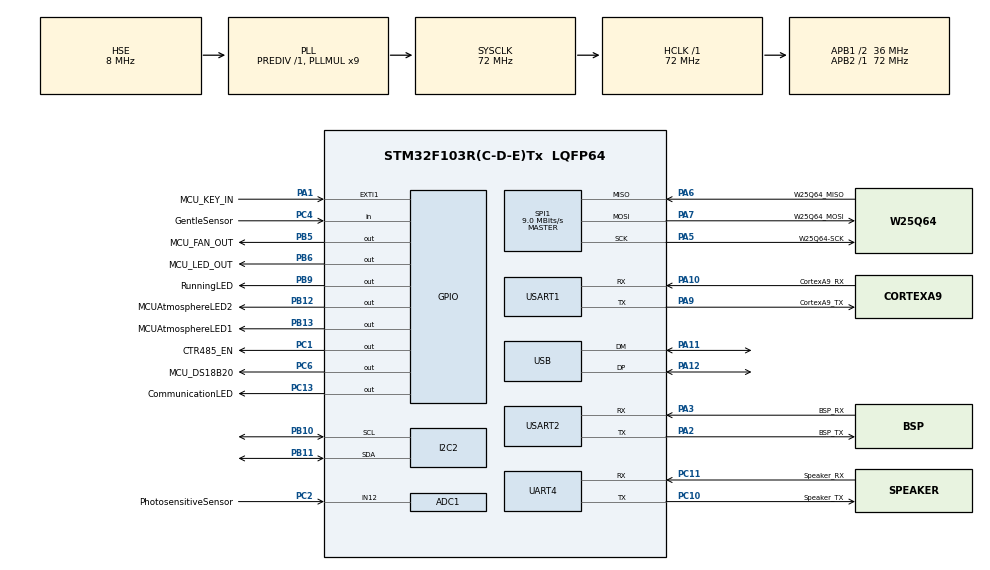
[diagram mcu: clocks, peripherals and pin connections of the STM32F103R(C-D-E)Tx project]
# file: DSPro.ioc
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ADC1.Channel-0\#ChannelRegularConversion=ADC_CHANNEL_12
ADC1.Channel-2\#ChannelRegularConversion=ADC_CHANNEL_TEMPSENSOR
ADC1.ContinuousConvMode=DISABLE
ADC1.DataAlign=ADC_DATAALIGN_RIGHT
ADC1.DiscontinuousConvMode=DISABLE
ADC1.EnableAnalogWatchDog=false
ADC1.EnableRegularConversion=ENABLE
ADC1.ExternalTrigConv=ADC_SOFTWARE_START
ADC1.InjNumberOfConversion=0
ADC1.NbrOfConversion=2
ADC1.NbrOfConversionFlag=1
ADC1.Rank-0\#ChannelRegularConversion=1
ADC1.Rank-2\#ChannelRegularConversion=2
ADC1.SamplingTime-0\#ChannelRegularConversion=ADC_SAMPLETIME_239CYCLES_5
ADC1.SamplingTime-2\#ChannelRegularConversion=ADC_SAMPLETIME_239CYCLES_5
ADC1.ScanConvMode=ADC_SCAN_ENABLE
ADC1.master=1
Dma.ADC1.2.Direction=DMA_PERIPH_TO_MEMORY
Dma.ADC1.2.Instance=DMA1_Channel1
Dma.ADC1.2.MemDataAlignment=DMA_MDATAALIGN_WORD
Dma.ADC1.2.MemInc=DMA_MINC_ENABLE
Dma.ADC1.2.Mode=DMA_CIRCULAR
Dma.ADC1.2.PeriphDataAlignment=DMA_PDATAALIGN_WORD
Dma.ADC1.2.PeriphInc=DMA_PINC_DISABLE
Dma.ADC1.2.Priority=DMA_PRIORITY_LOW
Dma.Request0=USART1_RX
Dma.Request1=USART1_TX
Dma.Request2=ADC1
Dma.Request3=UART4_TX
Dma.Request4=USART2_RX
Dma.Request5=USART2_TX
Dma.UART4_TX.3.Direction=DMA_MEMORY_TO_PERIPH
Dma.UART4_TX.3.Instance=DMA2_Channel5
Dma.UART4_TX.3.MemDataAlignment=DMA_MDATAALIGN_BYTE
Dma.UART4_TX.3.MemInc=DMA_MINC_ENABLE
Dma.UART4_TX.3.Mode=DMA_NORMAL
Dma.UART4_TX.3.PeriphDataAlignment=DMA_PDATAALIGN_BYTE
Dma.UART4_TX.3.PeriphInc=DMA_PINC_DISABLE
Dma.UART4_TX.3.Priority=DMA_PRIORITY_LOW
Dma.USART1_RX.0.Direction=DMA_PERIPH_TO_MEMORY
Dma.USART1_RX.0.Instance=DMA1_Channel5
Dma.USART1_RX.0.MemDataAlignment=DMA_MDATAALIGN_BYTE
Dma.USART1_RX.0.MemInc=DMA_MINC_ENABLE
Dma.USART1_RX.0.Mode=DMA_NORMAL
Dma.USART1_RX.0.PeriphDataAlignment=DMA_PDATAALIGN_BYTE
Dma.USART1_RX.0.PeriphInc=DMA_PINC_DISABLE
Dma.USART1_RX.0.Priority=DMA_PRIORITY_LOW
Dma.USART1_TX.1.Direction=DMA_MEMORY_TO_PERIPH
Dma.USART1_TX.1.Instance=DMA1_Channel4
Dma.USART1_TX.1.MemDataAlignment=DMA_MDATAALIGN_BYTE
Dma.USART1_TX.1.MemInc=DMA_MINC_ENABLE
Dma.USART1_TX.1.Mode=DMA_NORMAL
Dma.USART1_TX.1.PeriphDataAlignment=DMA_PDATAALIGN_BYTE
Dma.USART1_TX.1.PeriphInc=DMA_PINC_DISABLE
Dma.USART1_TX.1.Priority=DMA_PRIORITY_LOW
Dma.USART2_RX.4.Direction=DMA_PERIPH_TO_MEMORY
Dma.USART2_RX.4.Instance=DMA1_Channel6
Dma.USART2_RX.4.MemDataAlignment=DMA_MDATAALIGN_BYTE
Dma.USART2_RX.4.MemInc=DMA_MINC_ENABLE
Dma.USART2_RX.4.Mode=DMA_NORMAL
Dma.USART2_RX.4.PeriphDataAlignment=DMA_PDATAALIGN_BYTE
Dma.USART2_RX.4.PeriphInc=DMA_PINC_DISABLE
Dma.USART2_RX.4.Priority=DMA_PRIORITY_LOW
Dma.USART2_TX.5.Direction=DMA_MEMORY_TO_PERIPH
Dma.USART2_TX.5.Instance=DMA1_Channel7
Dma.USART2_TX.5.MemDataAlignment=DMA_MDATAALIGN_BYTE
Dma.USART2_TX.5.MemInc=DMA_MINC_ENABLE
Dma.USART2_TX.5.Mode=DMA_NORMAL
Dma.USART2_TX.5.PeriphDataAlignment=DMA_PDATAALIGN_BYTE
Dma.USART2_TX.5.PeriphInc=DMA_PINC_DISABLE
Dma.USART2_TX.5.Priority=DMA_PRIORITY_LOW
Mcu.Family=STM32F1
Mcu.Name=STM32F103R(C-D-E)Tx
Mcu.Package=LQFP64
NVIC.ADC1_2_IRQn=true\:0\:0\:false\:false\:true\:true
NVIC.DMA1_Channel1_IRQn=true\:0\:0\:false\:true\:true\:11\:false
NVIC.DMA1_Channel4_IRQn=true\:0\:0\:false\:true\:true\:7\:false
NVIC.DMA1_Channel5_IRQn=true\:0\:0\:false\:true\:true\:8\:false
NVIC.DMA1_Channel6_IRQn=true\:0\:0\:false\:true\:true\:9\:false
NVIC.DMA1_Channel7_IRQn=true\:0\:0\:false\:true\:true\:10\:false
NVIC.DMA2_Channel4_5_IRQn=true\:0\:0\:false\:true\:true\:15\:false
NVIC.EXTI1_IRQn=true\:0\:0\:false\:true\:true\:2\:true
NVIC.I2C2_ER_IRQn=true\:0\:0\:false\:true\:true\:13\:true
NVIC.I2C2_EV_IRQn=true\:0\:0\:false\:true\:true\:12\:true
NVIC.PriorityGroup=NVIC_PRIORITYGROUP_4
NVIC.SPI1_IRQn=true\:0\:0\:false\:false\:true\:true
NVIC.TIM4_IRQn=true\:0\:0\:false\:true\:true\:5\:true
NVIC.TIM5_IRQn=true\:0\:0\:false\:true\:true\:6\:true
NVIC.UART4_IRQn=true\:0\:0\:false\:true\:true\:14\:true
NVIC.USART1_IRQn=true\:0\:0\:false\:true\:true\:3\:true
NVIC.USART2_IRQn=true\:0\:0\:false\:true\:true\:4\:true
NVIC.USB_LP_CAN1_RX0_IRQn=true\:0\:0\:false\:true\:true\:1\:false
PA1.GPIO_Label=MCU_KEY_IN
PA1.Signal=GPXTI1
PA10.GPIO_Label=CortexA9_RX
PA10.Mode=Asynchronous
PA10.Signal=USART1_RX
PA11.Mode=Device
PA11.Signal=USB_DM
PA12.Mode=Device
PA12.Signal=USB_DP
PA13.Mode=Serial_Wire
PA13.Signal=SYS_JTMS-SWDIO
PA14.Mode=Serial_Wire
PA14.Signal=SYS_JTCK-SWCLK
PA2.GPIO_Label=BSP_TX
PA2.Mode=Asynchronous
PA2.Signal=USART2_TX
PA3.GPIO_Label=BSP_RX
PA3.Mode=Asynchronous
PA3.Signal=USART2_RX
PA5.GPIO_Label=W25Q64-SCK
PA5.Mode=Full_Duplex_Master
PA5.Signal=SPI1_SCK
PA6.GPIO_Label=W25Q64_MISO
PA6.Mode=Full_Duplex_Master
PA6.Signal=SPI1_MISO
PA7.GPIO_Label=W25Q64_MOSI
PA7.Mode=Full_Duplex_Master
PA7.Signal=SPI1_MOSI
PA9.GPIO_Label=CortexA9_TX
PA9.Mode=Asynchronous
PA9.Signal=USART1_TX
PB10.Mode=I2C
PB10.Signal=I2C2_SCL
PB11.Mode=I2C
PB11.Signal=I2C2_SDA
PB12.GPIO_Label=MCUAtmosphereLED2
PB12.Signal=GPIO_Output
PB13.GPIO_Label=MCUAtmosphereLED1
PB13.Signal=GPIO_Output
PB5.GPIO_Label=MCU_FAN_OUT
PB5.Signal=GPIO_Output
PB6.GPIO_Label=MCU_LED_OUT
PB6.Signal=GPIO_Output
PB9.GPIO_Label=RunningLED
PB9.Signal=GPIO_Output
PC1.GPIO_Label=CTR485_EN
PC1.Signal=GPIO_Output
PC10.GPIO_Label=Speaker_TX
PC10.Mode=Asynchronous
PC10.Signal=UART4_TX
PC11.GPIO_Label=Speaker_RX
PC11.Mode=Asynchronous
PC11.Signal=UART4_RX
PC13-TAMPER-RTC.GPIO_Label=CommunicationLED
PC13-TAMPER-RTC.Signal=GPIO_Output
PC2.GPIO_Label=PhotosensitiveSensor
PC2.Signal=ADCx_IN12
PC4.GPIO_Label=GentleSensor
PC4.GPIO_PuPd=GPIO_PULLUP
PC4.Signal=GPIO_Input
PC6.GPIO_Label=MCU_DS18B20
PC6.Signal=GPIO_Output
PD0-OSC_IN.Mode=HSE-External-Oscillator
PD0-OSC_IN.Signal=RCC_OSC_IN
PD1-OSC_OUT.Mode=HSE-External-Oscillator
PD1-OSC_OUT.Signal=RCC_OSC_OUT
ProjectManager.HeapSize=0x200
ProjectManager.StackSize=0x400
ProjectManager.TargetToolchain=EWARM
RCC.ADCPresc=RCC_ADCPCLK2_DIV6
RCC.AHBFreq_Value=72000000
RCC.APB1CLKDivider=RCC_HCLK_DIV2
RCC.APB1Freq_Value=36000000
RCC.APB1TimFreq_Value=72000000
RCC.APB2Freq_Value=72000000
RCC.APB2TimFreq_Value=72000000
RCC.HCLKFreq_Value=72000000
RCC.PLLMUL=RCC_PLL_MUL9
RCC.SYSCLKFreq_VALUE=72000000
RCC.SYSCLKSource=RCC_SYSCLKSOURCE_PLLCLK
RCC.USBFreq_Value=48000000
RCC.USBPrescaler=RCC_USBCLKSOURCE_PLL_DIV1_5
SH.ADCx_IN12.0=ADC1_IN12,IN12
SPI1.BaudRatePrescaler=SPI_BAUDRATEPRESCALER_8
SPI1.CLKPhase=SPI_PHASE_2EDGE
SPI1.CLKPolarity=SPI_POLARITY_HIGH
SPI1.CalculateBaudRate=9.0 MBits/s
SPI1.DataSize=SPI_DATASIZE_16BIT
SPI1.Direction=SPI_DIRECTION_2LINES
SPI1.Mode=SPI_MODE_MASTER
SPI1.VirtualType=VM_MASTER
TIM4.AutoReloadPreload=TIM_AUTORELOAD_PRELOAD_ENABLE
TIM4.Period=1000-1
TIM4.Prescaler=72-1
TIM5.AutoReloadPreload=TIM_AUTORELOAD_PRELOAD_ENABLE
TIM5.Period=100-1
TIM5.Prescaler=72-1
UART4.VirtualMode=Asynchronous
USART1.VirtualMode=VM_ASYNC
USART2.VirtualMode=VM_ASYNC
USB_DEVICE.CLASS_NAME_FS=CDC
USB_DEVICE.VirtualMode=Cdc
USB_DEVICE.VirtualModeFS=Cdc_FS
VP_ADC1_TempSens_Input.Mode=IN-TempSens
VP_CRC_VS_CRC.Mode=CRC_Activate
VP_TIM4_VS_ClockSourceINT.Mode=Internal
VP_TIM5_VS_ClockSourceINT.Mode=Internal
VP_USB_DEVICE_VS_USB_DEVICE_CDC_FS.Mode=CDC_FS
board=DSPro

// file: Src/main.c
/**
  ******************************************************************************
  * File Name          : main.c
  * Description        : Main program body
  ******************************************************************************
  * This notice applies to any and all portions of this file
  * that are not between comment pairs USER CODE BEGIN and
  * USER CODE END. Other portions of this file, whether
  * inserted by the user or by software development tools
  * are owned by their respective copyright owners.
  *
  * Copyright (c) 2017 STMicroelectronics International N.V.
  * All rights reserved.
  *
  * Redistribution and use in source and binary forms, with or without
  * modification, are permitted, provided that the following conditions are met:
  *
  * 1. Redistribution of source code must retain the above copyright notice,
  *    this list of conditions and the following disclaimer.
  * 2. Redistributions in binary form must reproduce the above copyright notice,
  *    this list of conditions and the following disclaimer in the documentation
  *    and/or other materials provided with the distribution.
  * 3. Neither the name of STMicroelectronics nor the names of other
  *    contributors to this software may be used to endorse or promote products
  *    derived from this software without specific written permission.
  * 4. This software, including modifications and/or derivative works of this
  *    software, must execute solely and exclusively on microcontroller or
  *    microprocessor devices manufactured by or for STMicroelectronics.
  * 5. Redistribution and use of this software other than as permitted under
  *    this license is void and will automatically terminate your rights under
  *    this license.
  *
  * THIS SOFTWARE IS PROVIDED BY STMICROELECTRONICS AND CONTRIBUTORS "AS IS"
  * AND ANY EXPRESS, IMPLIED OR STATUTORY WARRANTIES, INCLUDING, BUT NOT
  * LIMITED TO, THE IMPLIED WARRANTIES OF MERCHANTABILITY, FITNESS FOR A
  * PARTICULAR PURPOSE AND NON-INFRINGEMENT OF THIRD PARTY INTELLECTUAL PROPERTY
  * RIGHTS ARE DISCLAIMED TO THE FULLEST EXTENT PERMITTED BY LAW. IN NO EVENT
  * SHALL STMICROELECTRONICS OR CONTRIBUTORS BE LIABLE FOR ANY DIRECT, INDIRECT,
  * INCIDENTAL, SPECIAL, EXEMPLARY, OR CONSEQUENTIAL DAMAGES (INCLUDING, BUT NOT
  * LIMITED TO, PROCUREMENT OF SUBSTITUTE GOODS OR SERVICES; LOSS OF USE, DATA,
  * OR PROFITS; OR BUSINESS INTERRUPTION) HOWEVER CAUSED AND ON ANY THEORY OF
  * LIABILITY, WHETHER IN CONTRACT, STRICT LIABILITY, OR TORT (INCLUDING
  * NEGLIGENCE OR OTHERWISE) ARISING IN ANY WAY OUT OF THE USE OF THIS SOFTWARE,
  * EVEN IF ADVISED OF THE POSSIBILITY OF SUCH DAMAGE.
  *
  ******************************************************************************
  */

#include "main.h"
#include "stm32f1xx_hal.h"
#include "adc.h"
#include "crc.h"
#include "dma.h"
#include "i2c.h"
#include "spi.h"
#include "tim.h"
#include "usart.h"
#include "usb_device.h"
#include "gpio.h"

/* USER CODE BEGIN Includes */
#include "GentleSensor.h"
#include "DS_Protocol.h"
/* USER CODE END Includes */

/* USER CODE BEGIN PV */
/* Private variables ---------------------------------------------------------*/
extern USARTRECIVETYPE     CortexA9UsartType;
extern USARTRECIVETYPE     DoorBoardUsartType;
GPIOSTATUSDETECTION gGentleSensorStatusDetection;
PROTOCOLCMD  gCortexA9ProtocolCmd;
PROTOCOLCMD  gDoorBoardProtocolCmd;

uint16_t    gTIM4Cnt;
uint8_t     gTIM4CntFlag;

/* USER CODE END PV */

void SystemClock_Config(void);
static void MX_NVIC_Init(void);

/* USER CODE BEGIN PFP */
/* Private function prototypes -----------------------------------------------*/

/* USER CODE END PFP */

int main(void)
{

  /* MCU Configuration----------------------------------------------------------*/

  /* Reset of all peripherals, Initializes the Flash interface and the Systick. */
  HAL_Init();

  /* Configure the system clock */
  SystemClock_Config();

  /* Initialize all configured peripherals */
  MX_GPIO_Init();
  MX_DMA_Init();
  MX_USB_DEVICE_Init();
  MX_USART1_UART_Init();
  MX_USART2_UART_Init();
  MX_TIM4_Init();
  MX_TIM5_Init();
  MX_CRC_Init();
  MX_ADC1_Init();
  MX_UART4_Init();
  MX_I2C2_Init();
  MX_SPI1_Init();

  /* Initialize interrupts */
  MX_NVIC_Init();

  /* USER CODE BEGIN 2 */
  HAL_TIM_Base_Start_IT(&htim4);
  HAL_TIM_Base_Start_IT(&htim5);

  HAL_UART_Receive_DMA(&huart1,CortexA9UsartType.RX_pData,DS_RX_LEN);
  HAL_UART_Receive_DMA(&huart2,DoorBoardUsartType.RX_pData,DS_RX_LEN);

  __HAL_UART_ENABLE_IT(&huart1,UART_IT_IDLE);
  __HAL_UART_ENABLE_IT(&huart2,UART_IT_IDLE);

  DS_GentleSensorInit();
  DS_ProtocolInit();

  BSP_RUNNINGLED_ON();

  /* USER CODE END 2 */

  /* Infinite loop */
  while (1)
  {

  /* USER CODE BEGIN 3 */
    DS_GentleSensorCheck();

    DS_HandingUartDataFromCortexA9();
    DS_HandingCmdFromCortexA9(&gCortexA9ProtocolCmd);

    DS_HandingUartDataFromDoorBoard();
    DS_HandingCmdFromDoorBoard(&gDoorBoardProtocolCmd);

    if(1 == gTIM4CntFlag)
    {
      DS_TrySend5TimesCmdToCortexA9(&gCortexA9ProtocolCmd);
      DS_TrySend5TimesCmdToDoorBoard(&gDoorBoardProtocolCmd);
      gTIM4CntFlag = 0;
    }

  }
  /* USER CODE END 3 */

}

/** System Clock Configuration
*/
void SystemClock_Config(void)
{

  RCC_OscInitTypeDef RCC_OscInitStruct;
  RCC_ClkInitTypeDef RCC_ClkInitStruct;
  RCC_PeriphCLKInitTypeDef PeriphClkInit;

    /**Initializes the CPU, AHB and APB busses clocks
    */
  RCC_OscInitStruct.OscillatorType = RCC_OSCILLATORTYPE_HSE;
  RCC_OscInitStruct.HSEState = RCC_HSE_ON;
  RCC_OscInitStruct.HSEPredivValue = RCC_HSE_PREDIV_DIV1;
  RCC_OscInitStruct.HSIState = RCC_HSI_ON;
  RCC_OscInitStruct.PLL.PLLState = RCC_PLL_ON;
  RCC_OscInitStruct.PLL.PLLSource = RCC_PLLSOURCE_HSE;
  RCC_OscInitStruct.PLL.PLLMUL = RCC_PLL_MUL9;
  if (HAL_RCC_OscConfig(&RCC_OscInitStruct) != HAL_OK)
  {
    _Error_Handler(__FILE__, __LINE__);
  }

    /**Initializes the CPU, AHB and APB busses clocks
    */
  RCC_ClkInitStruct.ClockType = RCC_CLOCKTYPE_HCLK|RCC_CLOCKTYPE_SYSCLK
                              |RCC_CLOCKTYPE_PCLK1|RCC_CLOCKTYPE_PCLK2;
  RCC_ClkInitStruct.SYSCLKSource = RCC_SYSCLKSOURCE_PLLCLK;
  RCC_ClkInitStruct.AHBCLKDivider = RCC_SYSCLK_DIV1;
  RCC_ClkInitStruct.APB1CLKDivider = RCC_HCLK_DIV2;
  RCC_ClkInitStruct.APB2CLKDivider = RCC_HCLK_DIV1;

  if (HAL_RCC_ClockConfig(&RCC_ClkInitStruct, FLASH_LATENCY_2) != HAL_OK)
  {
    _Error_Handler(__FILE__, __LINE__);
  }

  PeriphClkInit.PeriphClockSelection = RCC_PERIPHCLK_ADC|RCC_PERIPHCLK_USB;
  PeriphClkInit.AdcClockSelection = RCC_ADCPCLK2_DIV6;
  PeriphClkInit.UsbClockSelection = RCC_USBCLKSOURCE_PLL_DIV1_5;
  if (HAL_RCCEx_PeriphCLKConfig(&PeriphClkInit) != HAL_OK)
  {
    _Error_Handler(__FILE__, __LINE__);
  }

    /**Configure the Systick interrupt time
    */
  HAL_SYSTICK_Config(HAL_RCC_GetHCLKFreq()/1000);

    /**Configure the Systick
    */
  HAL_SYSTICK_CLKSourceConfig(SYSTICK_CLKSOURCE_HCLK);

  /* SysTick_IRQn interrupt configuration */
  HAL_NVIC_SetPriority(SysTick_IRQn, 0, 0);
}

/** NVIC Configuration
*/
static void MX_NVIC_Init(void)
{
  /* USB_LP_CAN1_RX0_IRQn interrupt configuration */
  HAL_NVIC_SetPriority(USB_LP_CAN1_RX0_IRQn, 0, 0);
  HAL_NVIC_EnableIRQ(USB_LP_CAN1_RX0_IRQn);
  /* EXTI1_IRQn interrupt configuration */
  HAL_NVIC_SetPriority(EXTI1_IRQn, 0, 0);
  HAL_NVIC_EnableIRQ(EXTI1_IRQn);
  /* USART1_IRQn interrupt configuration */
  HAL_NVIC_SetPriority(USART1_IRQn, 0, 0);
  HAL_NVIC_EnableIRQ(USART1_IRQn);
  /* USART2_IRQn interrupt configuration */
  HAL_NVIC_SetPriority(USART2_IRQn, 0, 0);
  HAL_NVIC_EnableIRQ(USART2_IRQn);
  /* TIM4_IRQn interrupt configuration */
  HAL_NVIC_SetPriority(TIM4_IRQn, 0, 0);
  HAL_NVIC_EnableIRQ(TIM4_IRQn);
  /* TIM5_IRQn interrupt configuration */
  HAL_NVIC_SetPriority(TIM5_IRQn, 0, 0);
  HAL_NVIC_EnableIRQ(TIM5_IRQn);
  /* DMA1_Channel4_IRQn interrupt configuration */
  HAL_NVIC_SetPriority(DMA1_Channel4_IRQn, 0, 0);
  HAL_NVIC_EnableIRQ(DMA1_Channel4_IRQn);
  /* DMA1_Channel5_IRQn interrupt configuration */
  HAL_NVIC_SetPriority(DMA1_Channel5_IRQn, 0, 0);
  HAL_NVIC_EnableIRQ(DMA1_Channel5_IRQn);
  /* DMA1_Channel6_IRQn interrupt configuration */
  HAL_NVIC_SetPriority(DMA1_Channel6_IRQn, 0, 0);
  HAL_NVIC_EnableIRQ(DMA1_Channel6_IRQn);
  /* DMA1_Channel7_IRQn interrupt configuration */
  HAL_NVIC_SetPriority(DMA1_Channel7_IRQn, 0, 0);
  HAL_NVIC_EnableIRQ(DMA1_Channel7_IRQn);
  /* DMA1_Channel1_IRQn interrupt configuration */
  HAL_NVIC_SetPriority(DMA1_Channel1_IRQn, 0, 0);
  HAL_NVIC_EnableIRQ(DMA1_Channel1_IRQn);
  /* I2C2_EV_IRQn interrupt configuration */
  HAL_NVIC_SetPriority(I2C2_EV_IRQn, 0, 0);
  HAL_NVIC_EnableIRQ(I2C2_EV_IRQn);
  /* I2C2_ER_IRQn interrupt configuration */
  HAL_NVIC_SetPriority(I2C2_ER_IRQn, 0, 0);
  HAL_NVIC_EnableIRQ(I2C2_ER_IRQn);
  /* UART4_IRQn interrupt configuration */
  HAL_NVIC_SetPriority(UART4_IRQn, 0, 0);
  HAL_NVIC_EnableIRQ(UART4_IRQn);
  /* DMA2_Channel4_5_IRQn interrupt configuration */
  HAL_NVIC_SetPriority(DMA2_Channel4_5_IRQn, 0, 0);
  HAL_NVIC_EnableIRQ(DMA2_Channel4_5_IRQn);
}

/* USER CODE BEGIN 4 */
/**
  * @brief  Period elapsed callback in non blocking mode
  * @param  htim : TIM handle
  * @retval None
  */
void HAL_TIM_PeriodElapsedCallback(TIM_HandleTypeDef *htim)
{
  /* Prevent unused argument(s) compilation warning */
  UNUSED(htim);
  /* NOTE : This function Should not be modified, when the callback is needed,
            the __HAL_TIM_PeriodElapsedCallback could be implemented in the user file
   */
  /* 1ms */
  if(htim->Instance == htim4.Instance)
  {
    gTIM4Cnt++;
    if(gTIM4Cnt > 300)
    {
      gTIM4CntFlag = 1;
      gTIM4Cnt = 0;
    }

//    if(gGentleSensorStatusDetection.GpioValidLogicTimeCnt > 80)
//    {
//      gGentleSensorStatusDetection.GpioValidLogicTimeCnt--;
//    }

  }
  /* 0.1ms */
  if(htim->Instance == htim5.Instance)
  {
      gGentleSensorStatusDetection.GpioCurrentReadVal = HAL_GPIO_ReadPin(GentleSensor_GPIO_Port,GentleSensor_Pin);

      if(0 == gGentleSensorStatusDetection.GpioCurrentReadVal && 0 == gGentleSensorStatusDetection.GpioLastReadVal)
      {
        if(0 == gGentleSensorStatusDetection.GpioCarFlag)
        {
          gGentleSensorStatusDetection.GpioFilterCnt ++;
          if(gGentleSensorStatusDetection.GpioFilterCnt > 15 && 0 == gGentleSensorStatusDetection.GpioStatusVal)
          {
            gGentleSensorStatusDetection.GpioStatusVal = 1;
            gGentleSensorStatusDetection.GpioFilterCnt = 0;
            gGentleSensorStatusDetection.GpioCarFlag = 1;
          }
        }
      }
      else
      {
        gGentleSensorStatusDetection.GpioCarFlag       = 0;
        gGentleSensorStatusDetection.GpioFilterCnt     = 0;
        gGentleSensorStatusDetection.GpioStatusVal     = 0;
        gGentleSensorStatusDetection.GpioSendDataFlag  = 1;
      }
      gGentleSensorStatusDetection.GpioLastReadVal = gGentleSensorStatusDetection.GpioCurrentReadVal;
  }

}
/* USER CODE END 4 */

void _Error_Handler(char * file, int line)
{
  while(1)
  {
  }
}

/************************ (C) COPYRIGHT STMicroelectronics *****END OF FILE****/
